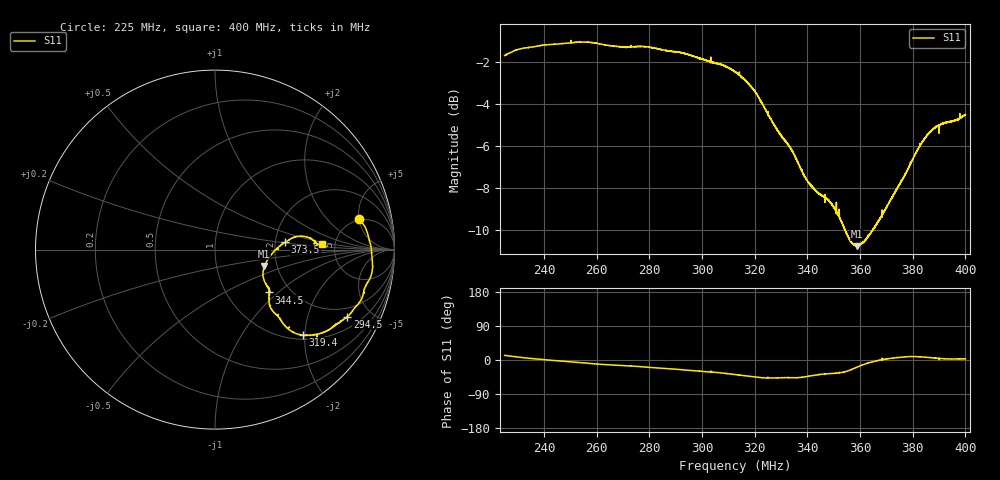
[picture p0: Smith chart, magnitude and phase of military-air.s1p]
! Calibrated averaged scanner-service zoom
# Hz S RI R 50
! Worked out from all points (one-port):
!   10001 points, 225 MHz to 400 MHz, reference 50 ohm
!   lowest |S11| = -10.8 dB at 358.9 MHz (marker M1), VSWR 1.82, Z = 85.7 - j17.2 ohm
!   |S11| at or under -10 dB: 354.3 MHz to 364.7 MHz (10.42 MHz wide, 2.9 % of centre); 364.7244 MHz to 364.7556 MHz (31.23 kHz wide, 0.00856 % of centre)
!   S11 on the Smith chart (normalised r, x): 225 MHz: 4.77, +5.02; 294.5 MHz: 1.52, -3.58; 319.4 MHz: 1.10, -1.96; 344.5 MHz: 1.56, -0.88; 373.5 MHz: 2.26, +0.22; 400 MHz: 3.90, +0.40
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2.25e8  0.8027 0.1715
2.322975e8  0.8503 0.0897
2.46875e8  0.8752 -0.0457
2.559575e8  0.8741 -0.127
2.616625e8  0.8565 -0.1735
2.6875e8  0.835 -0.2126
2.7764e8  0.8196 -0.2687
2.90625e8  0.7607 -0.3496
2.944575e8  0.7373 -0.3738
3.069e8  0.651 -0.4364
3.125e8  0.589 -0.4658
3.1936e8  0.4905 -0.476
3.222475e8  0.4427 -0.4642
3.2594e8  0.3938 -0.4275
3.34375e8  0.3322 -0.354
3.384525e8  0.3041 -0.3042
3.44525e8  0.3019 -0.2389
3.50125e8  0.2915 -0.207
3.5324e8  0.2759 -0.1775
3.5625e8  0.267 -0.1339
3.58945e8  0.2749 -0.0919
3.6388e8  0.3089 -0.0343
3.735225e8  0.3897 0.0404
3.78125e8  0.4362 0.0662
3.8271e8  0.4954 0.0733
3.87785e8  0.547 0.0531
3.9363e8  0.5706 0.0278
4e8  0.5944 0.0327
